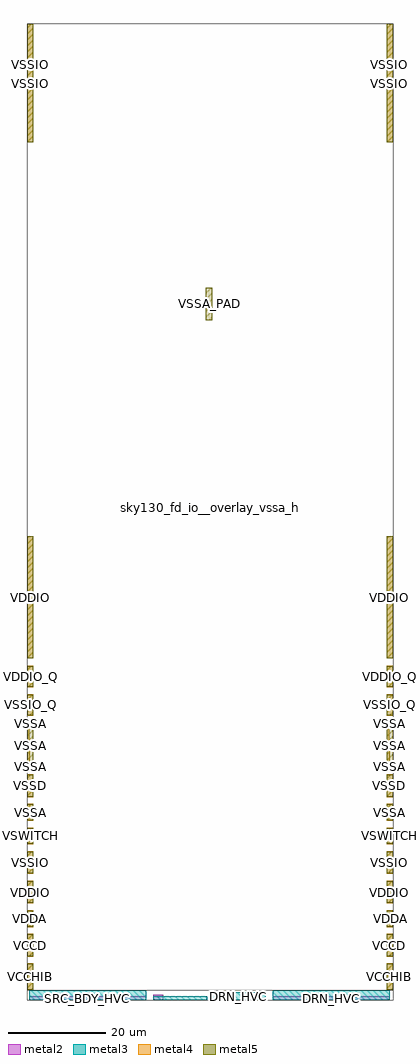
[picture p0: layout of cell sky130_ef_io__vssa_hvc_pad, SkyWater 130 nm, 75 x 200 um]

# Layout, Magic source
magic
tech sky130A
magscale 1 2
<< metal2 >>
rect 99 -407 4879 -259
rect 5179 -407 5579 -184
rect 10078 -407 14858 -259
<< metal3 >>
rect 99 -407 4879 -16
rect 5179 -407 7379 -259
rect 7578 -407 9778 -89
rect 10078 -407 14858 -16
<< metal4 >>
rect 0 34750 254 39593
rect 14746 34750 15000 39593
rect 0 13600 254 18593
rect 14746 13600 15000 18593
rect 0 12410 254 13300
rect 14746 12410 15000 13300
rect 0 11240 254 12130
rect 14746 11240 15000 12130
rect 0 10874 254 10940
rect 14746 10874 15000 10940
rect 0 10218 100 10814
rect 14746 10218 14846 10814
rect 0 9922 254 10158
rect 14746 9922 15000 10158
rect 0 9266 116 9862
rect 14746 9266 14862 9862
rect 0 9140 254 9206
rect 14746 9140 15000 9206
rect 0 7910 254 8840
rect 14746 7910 15000 8840
rect 0 6940 254 7630
rect 14746 6940 15000 7630
rect 0 5970 254 6660
rect 14746 5970 15000 6660
rect 0 4760 254 5690
rect 14746 4760 15000 5690
rect 0 3550 254 4480
rect 14746 3550 15000 4480
rect 0 2580 254 3270
rect 14746 2580 15000 3270
rect 0 1370 254 2300
rect 14746 1370 15000 2300
rect 0 0 254 1090
rect 14746 6 15000 1090
rect 14746 0 14928 6
rect 14939 3 15000 6
<< metal5 >>
rect 0 34750 254 39593
rect 14746 34750 15000 39593
rect 7329 27458 7594 28780
rect 0 13600 254 18590
rect 14746 13600 15000 18590
rect 0 12430 254 13280
rect 14746 12430 15000 13280
rect 0 11260 254 12110
rect 14746 11260 15000 12110
rect 0 9140 254 10940
rect 14746 9140 15000 10940
rect 0 7930 254 8820
rect 14746 7930 15000 8820
rect 0 6960 254 7610
rect 14746 6960 15000 7610
rect 0 5990 254 6640
rect 14746 5990 15000 6640
rect 0 4780 254 5670
rect 14746 4780 15000 5670
rect 0 3570 254 4460
rect 14746 3570 15000 4460
rect 0 2600 254 3250
rect 14746 2600 15000 3250
rect 0 1390 254 2280
rect 14746 1390 15000 2280
rect 0 20 254 1070
rect 14746 20 15000 1070
use sky130_fd_io__overlay_vssa_hvc  sky130_fd_io__overlay_vssa_hvc_0 $PDKPATH/libs.ref/sky130_fd_io/mag
transform 1 0 0 0 1 -407
box 0 407 15000 40000
use sky130_fd_io__top_ground_hvc_wpad  sky130_fd_io__top_ground_hvc_wpad_0 $PDKPATH/libs.ref/sky130_fd_io/mag
transform 1 0 0 0 1 -407
box 0 0 15000 40000
<< labels >>
flabel metal4 s 127 37914 127 37914 3 FreeSans 520 0 0 0 VSSIO
port 12 nsew ground bidirectional
flabel metal4 s 14873 37914 14873 37914 3 FreeSans 520 180 0 0 VSSIO
port 15 nsew ground bidirectional
flabel metal2 s 10078 -407 14858 -259 2 FreeSans 2000 90 0 0 DRN_HVC
port 2 nsew power bidirectional
flabel metal2 s 99 -407 4879 -259 2 FreeSans 2000 90 0 0 SRC_BDY_HVC
port 3 nsew ground bidirectional
flabel metal3 s 7578 -407 9778 -89 0 FreeSans 2000 0 0 0 DRN_HVC
port 2 nsew power bidirectional
flabel metal3 s 99 -407 4879 -16 0 FreeSans 2000 0 0 0 VSSA
port 5 nsew ground bidirectional
flabel metal3 s 10078 -407 14858 -16 0 FreeSans 2000 0 0 0 VSSA
port 5 nsew ground bidirectional
flabel metal3 s 5179 -407 7379 -259 2 FreeSans 2000 90 0 0 SRC_BDY_HVC
port 3 nsew ground bidirectional
flabel metal5 s 14746 9140 15000 10940 3 FreeSans 520 180 0 0 VSSA
port 5 nsew ground bidirectional
flabel metal5 s 14807 2600 15000 3250 3 FreeSans 520 180 0 0 VDDA
port 6 nsew power bidirectional
flabel metal5 s 14746 7930 15000 8820 3 FreeSans 520 180 0 0 VSSD
port 13 nsew ground bidirectional
flabel metal5 s 14746 11260 15000 12110 3 FreeSans 520 180 0 0 VSSIO_Q
port 14 nsew ground bidirectional
flabel metal5 s 14746 4780 15000 5670 3 FreeSans 520 180 0 0 VSSIO
port 12 nsew ground bidirectional
flabel metal5 s 14746 5990 15000 6640 3 FreeSans 520 180 0 0 VSWITCH
port 7 nsew power bidirectional
flabel metal5 s 14746 6961 15000 7610 3 FreeSans 520 180 0 0 VSSA
port 5 nsew ground bidirectional
flabel metal5 s 14746 1390 15000 2280 3 FreeSans 520 180 0 0 VCCD
port 11 nsew power bidirectional
flabel metal5 s 14746 12430 15000 13280 3 FreeSans 520 180 0 0 VDDIO_Q
port 8 nsew power bidirectional
flabel metal5 s 14746 13600 15000 18590 3 FreeSans 520 180 0 0 VDDIO
port 10 nsew power bidirectional
flabel metal5 s 14746 20 15000 1070 3 FreeSans 520 180 0 0 VCCHIB
port 9 nsew power bidirectional
flabel metal5 s 14746 3570 15000 4460 3 FreeSans 520 180 0 0 VDDIO
port 10 nsew power bidirectional
flabel metal5 s 0 13600 254 18590 3 FreeSans 520 0 0 0 VDDIO
port 10 nsew power bidirectional
flabel metal5 s 0 7930 254 8820 3 FreeSans 520 0 0 0 VSSD
port 13 nsew ground bidirectional
flabel metal5 s 0 11260 254 12110 3 FreeSans 520 0 0 0 VSSIO_Q
port 14 nsew ground bidirectional
flabel metal5 s 0 5990 254 6640 3 FreeSans 520 0 0 0 VSWITCH
port 7 nsew power bidirectional
flabel metal5 s 0 4780 254 5670 3 FreeSans 520 0 0 0 VSSIO
port 12 nsew ground bidirectional
flabel metal5 s 0 2600 193 3250 3 FreeSans 520 0 0 0 VDDA
port 6 nsew power bidirectional
flabel metal5 s 0 3570 254 4460 3 FreeSans 520 0 0 0 VDDIO
port 10 nsew power bidirectional
flabel metal5 s 0 1390 254 2280 3 FreeSans 520 0 0 0 VCCD
port 11 nsew power bidirectional
flabel metal5 s 0 12430 254 13280 3 FreeSans 520 0 0 0 VDDIO_Q
port 8 nsew power bidirectional
flabel metal5 s 0 9140 254 10940 3 FreeSans 520 0 0 0 VSSA
port 5 nsew ground bidirectional
flabel metal5 s 0 6961 254 7610 3 FreeSans 520 0 0 0 VSSA
port 5 nsew ground bidirectional
flabel metal5 s 0 20 254 1070 3 FreeSans 520 0 0 0 VCCHIB
port 9 nsew power bidirectional
flabel metal4 s 14746 7910 15000 8840 3 FreeSans 520 180 0 0 VSSD
port 13 nsew ground bidirectional
flabel metal4 s 14807 2580 15000 3270 3 FreeSans 520 180 0 0 VDDA
port 6 nsew power bidirectional
flabel metal4 s 14746 11240 15000 12130 3 FreeSans 520 180 0 0 VSSIO_Q
port 14 nsew ground bidirectional
flabel metal4 s 14746 4760 15000 5690 3 FreeSans 520 180 0 0 VSSIO
port 12 nsew ground bidirectional
flabel metal4 s 14746 5970 15000 6660 3 FreeSans 520 180 0 0 VSWITCH
port 7 nsew power bidirectional
flabel metal4 s 14746 9922 15000 10158 3 FreeSans 520 180 0 0 VSSA
port 5 nsew ground bidirectional
flabel metal4 s 14746 10874 15000 10940 3 FreeSans 520 180 0 0 VSSA
port 5 nsew ground bidirectional
flabel metal4 s 14746 0 15000 1090 3 FreeSans 520 180 0 0 VCCHIB
port 9 nsew power bidirectional
flabel metal4 s 14746 3550 15000 4480 3 FreeSans 520 180 0 0 VDDIO
port 10 nsew power bidirectional
flabel metal4 s 14746 9140 15000 9206 3 FreeSans 520 180 0 0 VSSA
port 5 nsew ground bidirectional
flabel metal4 s 14746 6940 15000 7630 3 FreeSans 520 180 0 0 VSSA
port 5 nsew ground bidirectional
flabel metal4 s 14746 12410 15000 13300 3 FreeSans 520 180 0 0 VDDIO_Q
port 8 nsew power bidirectional
flabel metal4 s 14746 1370 15000 2300 3 FreeSans 520 180 0 0 VCCD
port 11 nsew power bidirectional
flabel metal4 s 14746 9266 15000 9862 3 FreeSans 520 180 0 0 AMUXBUS_B
port 1 nsew signal bidirectional
flabel metal4 s 14746 34750 15000 39593 3 FreeSans 520 180 0 0 VSSIO
port 12 nsew ground bidirectional
flabel metal4 s 14746 10218 15000 10814 3 FreeSans 520 180 0 0 AMUXBUS_A
port 0 nsew signal bidirectional
flabel metal4 s 14746 13600 15000 18593 3 FreeSans 520 180 0 0 VDDIO
port 10 nsew power bidirectional
flabel metal4 s 0 34750 254 39593 3 FreeSans 520 0 0 0 VSSIO
port 12 nsew ground bidirectional
flabel metal4 s 0 3550 254 4480 3 FreeSans 520 0 0 0 VDDIO
port 10 nsew power bidirectional
flabel metal4 s 0 12410 254 13300 3 FreeSans 520 0 0 0 VDDIO_Q
port 8 nsew power bidirectional
flabel metal4 s 0 13600 254 18593 3 FreeSans 520 0 0 0 VDDIO
port 10 nsew power bidirectional
flabel metal4 s 0 1370 254 2300 3 FreeSans 520 0 0 0 VCCD
port 11 nsew power bidirectional
flabel metal4 s 0 9140 254 9206 3 FreeSans 520 0 0 0 VSSA
port 5 nsew ground bidirectional
flabel metal4 s 0 5970 254 6660 3 FreeSans 520 0 0 0 VSWITCH
port 7 nsew power bidirectional
flabel metal4 s 0 0 254 1090 3 FreeSans 520 0 0 0 VCCHIB
port 9 nsew power bidirectional
flabel metal4 s 0 9922 254 10158 3 FreeSans 520 0 0 0 VSSA
port 5 nsew ground bidirectional
flabel metal4 s 0 11240 254 12130 3 FreeSans 520 0 0 0 VSSIO_Q
port 14 nsew ground bidirectional
flabel metal4 s 0 4760 254 5690 3 FreeSans 520 0 0 0 VSSIO
port 12 nsew ground bidirectional
flabel metal4 s 0 2580 193 3270 3 FreeSans 520 0 0 0 VDDA
port 6 nsew power bidirectional
flabel metal4 s 0 10218 254 10814 3 FreeSans 520 0 0 0 AMUXBUS_A
port 0 nsew signal bidirectional
flabel metal4 s 0 10874 254 10940 3 FreeSans 520 0 0 0 VSSA
port 5 nsew ground bidirectional
flabel metal4 s 0 6940 254 7630 3 FreeSans 520 0 0 0 VSSA
port 5 nsew ground bidirectional
flabel metal4 s 0 7910 254 8840 3 FreeSans 520 0 0 0 VSSD
port 13 nsew ground bidirectional
flabel metal4 s 0 9266 254 9862 3 FreeSans 520 0 0 0 AMUXBUS_B
port 1 nsew signal bidirectional
flabel metal5 s 7329 27458 7594 28780 0 FreeSans 2000 0 0 0 VSSA_PAD
port 4 nsew ground bidirectional
<< properties >>
string LEFclass PAD POWER
string FIXED_BBOX 0 0 15000 39593
<< end >>
